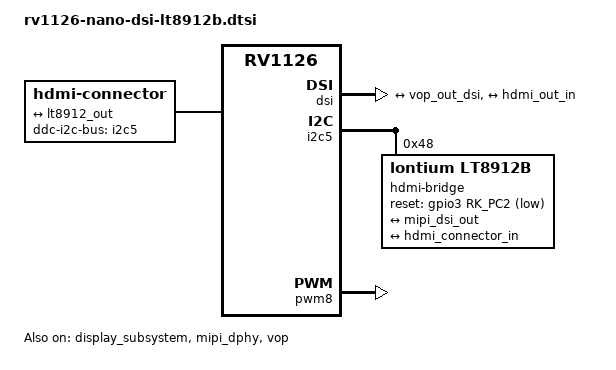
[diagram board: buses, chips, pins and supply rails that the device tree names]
// SPDX-License-Identifier: (GPL-2.0+ OR MIT)
/*
 * Guangzhou Easy EAI Technology Co., Ltd.
 *
 */

#include <dt-bindings/display/drm_mipi_dsi.h>

/ {
	hdmi-connector {
		compatible = "hdmi-connector";
		ddc-i2c-bus = <&i2c5>;
		label = "hdmi";
		type = "a";

		port {
			hdmi_connector_in: endpoint {
				remote-endpoint = <&lt8912_out>;
			};
		};
	};
};

&display_subsystem {
	status = "okay";
};

&dsi {
	#address-cells = <1>;
	#size-cells = <0>;
	status = "okay";

	ports {
		#address-cells = <1>;
		#size-cells = <0>;

		port {
			reg = <0>;
			dsi_in_vop: endpoint {
				remote-endpoint = <&vop_out_dsi>;
			};
		};

		port@1 {
			reg = <1>;

			mipi_dsi_out: endpoint {
				data-lanes = <1 2 3 4>;
				remote-endpoint = <&hdmi_out_in>;
			};
		};
	};
};

&i2c5 {
	status = "okay";
	pinctrl-0 = <&i2c5m1_xfer>;

	hdmi-bridge@48 {
		pinctrl-names = "default";
		pinctrl-0 = <&panel_rst>;
		compatible = "lontium,lt8912b";
		reg = <0x48> ;
		reset-gpios = <&gpio3 RK_PC2 GPIO_ACTIVE_LOW>;

		ports {
			#address-cells = <1>;
			#size-cells = <0>;

			port@0 {
				reg = <0>;
				hdmi_out_in: endpoint {
					data-lanes = <1 2 3 4>;
					remote-endpoint = <&mipi_dsi_out>;
				};
			};

			port@1 {
				reg = <1>;
				lt8912_out: endpoint {
					remote-endpoint = <&hdmi_connector_in>;
				};
			};
		};
	};
};

&mipi_dphy {
	status = "okay";
};

&pinctrl {
	mipi-dsi {
		/omit-if-no-ref/
		panel_rst: panel_rst {
			rockchip,pins =
				<3 RK_PC2 RK_FUNC_GPIO &pcfg_pull_up>;
		};
	};
};

&pwm8 {
	status = "okay";
	pinctrl-0 = <&pwm8m1_pins>;
};

&route_dsi {
	status = "disabled";
};

&vop {
	status = "okay";
};

&vop_mmu {
	status = "okay";
};
